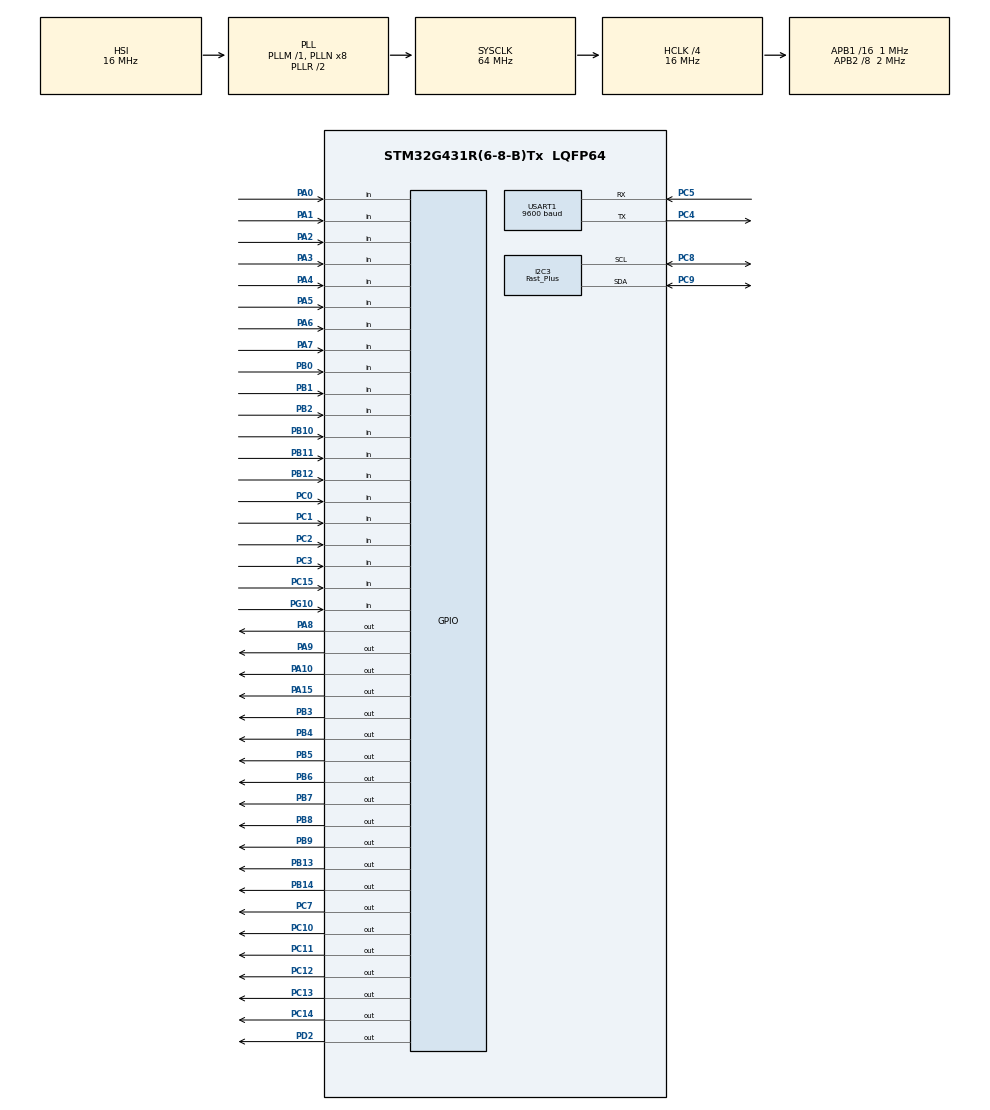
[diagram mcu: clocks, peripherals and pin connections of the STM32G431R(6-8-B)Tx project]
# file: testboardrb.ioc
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Dma.I2C3_RX.1.Direction=DMA_PERIPH_TO_MEMORY
Dma.I2C3_RX.1.EventEnable=ENABLE
Dma.I2C3_RX.1.Instance=DMA1_Channel2
Dma.I2C3_RX.1.MemDataAlignment=DMA_MDATAALIGN_BYTE
Dma.I2C3_RX.1.MemInc=DMA_MINC_ENABLE
Dma.I2C3_RX.1.Mode=DMA_NORMAL
Dma.I2C3_RX.1.PeriphDataAlignment=DMA_PDATAALIGN_BYTE
Dma.I2C3_RX.1.PeriphInc=DMA_PINC_DISABLE
Dma.I2C3_RX.1.Polarity=HAL_DMAMUX_REQ_GEN_RISING
Dma.I2C3_RX.1.Priority=DMA_PRIORITY_VERY_HIGH
Dma.I2C3_RX.1.RequestNumber=1
Dma.I2C3_RX.1.SignalID=NONE
Dma.I2C3_RX.1.SyncEnable=ENABLE
Dma.I2C3_RX.1.SyncPolarity=HAL_DMAMUX_SYNC_RISING
Dma.I2C3_RX.1.SyncRequestNumber=1
Dma.I2C3_RX.1.SyncSignalID=NONE
Dma.I2C3_TX.0.Direction=DMA_MEMORY_TO_PERIPH
Dma.I2C3_TX.0.EventEnable=DISABLE
Dma.I2C3_TX.0.Instance=DMA1_Channel1
Dma.I2C3_TX.0.MemDataAlignment=DMA_MDATAALIGN_BYTE
Dma.I2C3_TX.0.MemInc=DMA_MINC_ENABLE
Dma.I2C3_TX.0.Mode=DMA_NORMAL
Dma.I2C3_TX.0.PeriphDataAlignment=DMA_PDATAALIGN_BYTE
Dma.I2C3_TX.0.PeriphInc=DMA_PINC_DISABLE
Dma.I2C3_TX.0.Polarity=HAL_DMAMUX_REQ_GEN_RISING
Dma.I2C3_TX.0.Priority=DMA_PRIORITY_VERY_HIGH
Dma.I2C3_TX.0.RequestNumber=1
Dma.I2C3_TX.0.SignalID=NONE
Dma.I2C3_TX.0.SyncEnable=DISABLE
Dma.I2C3_TX.0.SyncPolarity=HAL_DMAMUX_SYNC_NO_EVENT
Dma.I2C3_TX.0.SyncRequestNumber=1
Dma.I2C3_TX.0.SyncSignalID=NONE
Dma.Request0=I2C3_TX
Dma.Request1=I2C3_RX
Dma.Request2=USART1_RX
Dma.Request3=USART1_TX
Dma.USART1_RX.2.Direction=DMA_PERIPH_TO_MEMORY
Dma.USART1_RX.2.EventEnable=ENABLE
Dma.USART1_RX.2.Instance=DMA2_Channel5
Dma.USART1_RX.2.MemDataAlignment=DMA_MDATAALIGN_BYTE
Dma.USART1_RX.2.MemInc=DMA_MINC_ENABLE
Dma.USART1_RX.2.Mode=DMA_NORMAL
Dma.USART1_RX.2.PeriphDataAlignment=DMA_PDATAALIGN_BYTE
Dma.USART1_RX.2.PeriphInc=DMA_PINC_DISABLE
Dma.USART1_RX.2.Polarity=HAL_DMAMUX_REQ_GEN_RISING
Dma.USART1_RX.2.Priority=DMA_PRIORITY_VERY_HIGH
Dma.USART1_RX.2.RequestNumber=1
Dma.USART1_RX.2.SignalID=NONE
Dma.USART1_RX.2.SyncEnable=ENABLE
Dma.USART1_RX.2.SyncPolarity=HAL_DMAMUX_SYNC_RISING
Dma.USART1_RX.2.SyncRequestNumber=1
Dma.USART1_RX.2.SyncSignalID=NONE
Dma.USART1_TX.3.Direction=DMA_MEMORY_TO_PERIPH
Dma.USART1_TX.3.EventEnable=ENABLE
Dma.USART1_TX.3.Instance=DMA2_Channel6
Dma.USART1_TX.3.MemDataAlignment=DMA_MDATAALIGN_BYTE
Dma.USART1_TX.3.MemInc=DMA_MINC_ENABLE
Dma.USART1_TX.3.Mode=DMA_NORMAL
Dma.USART1_TX.3.PeriphDataAlignment=DMA_PDATAALIGN_BYTE
Dma.USART1_TX.3.PeriphInc=DMA_PINC_DISABLE
Dma.USART1_TX.3.Polarity=HAL_DMAMUX_REQ_GEN_RISING
Dma.USART1_TX.3.Priority=DMA_PRIORITY_LOW
Dma.USART1_TX.3.RequestNumber=1
Dma.USART1_TX.3.SignalID=NONE
Dma.USART1_TX.3.SyncEnable=ENABLE
Dma.USART1_TX.3.SyncPolarity=HAL_DMAMUX_SYNC_RISING
Dma.USART1_TX.3.SyncRequestNumber=1
Dma.USART1_TX.3.SyncSignalID=NONE
I2C3.I2C_Speed_Mode=I2C_Fast_Plus
I2C3.Timing=0x00000000
Mcu.Family=STM32G4
Mcu.Name=STM32G431R(6-8-B)Tx
Mcu.Package=LQFP64
NVIC.DMA1_Channel1_IRQn=true\:0\:0\:false\:false\:true\:false\:true\:true
NVIC.DMA1_Channel2_IRQn=true\:0\:0\:false\:false\:true\:false\:true\:true
NVIC.DMA2_Channel5_IRQn=true\:0\:0\:false\:false\:true\:false\:true\:true
NVIC.DMA2_Channel6_IRQn=true\:0\:0\:false\:false\:true\:false\:true\:true
NVIC.DMAMUX_OVR_IRQn=true\:0\:0\:false\:false\:true\:false\:true\:true
NVIC.I2C3_ER_IRQn=true\:0\:0\:false\:false\:true\:true\:true\:true
NVIC.I2C3_EV_IRQn=true\:0\:0\:false\:false\:true\:true\:true\:true
NVIC.PriorityGroup=NVIC_PRIORITYGROUP_4
NVIC.USART1_IRQn=true\:0\:0\:false\:false\:true\:true\:true\:true
PA0.Signal=GPIO_Input
PA1.Signal=GPIO_Input
PA10.Signal=GPIO_Output
PA13.Mode=Serial_Wire
PA13.Signal=SYS_JTMS-SWDIO
PA14.Mode=Serial_Wire
PA14.Signal=SYS_JTCK-SWCLK
PA15.Signal=GPIO_Output
PA2.Signal=GPIO_Input
PA3.Signal=GPIO_Input
PA4.Signal=GPIO_Input
PA5.Signal=GPIO_Input
PA6.Signal=GPIO_Input
PA7.Signal=GPIO_Input
PA8.Signal=GPIO_Output
PA9.Signal=GPIO_Output
PB0.Signal=GPIO_Input
PB1.Signal=GPIO_Input
PB10.Signal=GPIO_Input
PB11.Signal=GPIO_Input
PB12.Signal=GPIO_Input
PB13.Signal=GPIO_Output
PB14.Signal=GPIO_Output
PB2.Signal=GPIO_Input
PB3.Signal=GPIO_Output
PB4.Signal=GPIO_Output
PB5.Signal=GPIO_Output
PB6.Signal=GPIO_Output
PB7.Signal=GPIO_Output
PB8-BOOT0.Signal=GPIO_Output
PB9.Signal=GPIO_Output
PC0.GPIO_PuPd=GPIO_NOPULL
PC0.Signal=GPIO_Input
PC1.GPIO_PuPd=GPIO_NOPULL
PC1.Signal=GPIO_Input
PC10.Signal=GPIO_Output
PC11.Signal=GPIO_Output
PC12.Signal=GPIO_Output
PC13.Signal=GPIO_Output
PC14-OSC32_IN.Signal=GPIO_Output
PC15-OSC32_OUT.Signal=GPIO_Input
PC2.Signal=GPIO_Input
PC3.Signal=GPIO_Input
PC4.Mode=Asynchronous
PC4.Signal=USART1_TX
PC5.Mode=Asynchronous
PC5.Signal=USART1_RX
PC7.Signal=GPIO_Output
PC8.GPIO_Mode=GPIO_MODE_AF_OD
PC8.GPIO_Pu=GPIO_PULLUP
PC8.GPIO_Speed=GPIO_SPEED_FREQ_HIGH
PC8.Mode=I2C
PC8.Signal=I2C3_SCL
PC9.GPIO_Mode=GPIO_MODE_AF_OD
PC9.GPIO_Pu=GPIO_PULLUP
PC9.GPIO_Speed=GPIO_SPEED_FREQ_HIGH
PC9.Mode=I2C
PC9.Signal=I2C3_SDA
PD2.Signal=GPIO_Output
PF0-OSC_IN.Mode=HSE-External-Oscillator
PF0-OSC_IN.Signal=RCC_OSC_IN
PF1-OSC_OUT.Mode=HSE-External-Oscillator
PF1-OSC_OUT.Signal=RCC_OSC_OUT
PG10-NRST.Signal=GPIO_Input
ProjectManager.HeapSize=0x200
ProjectManager.StackSize=0x400
ProjectManager.TargetToolchain=STM32CubeIDE
RCC.ADC12Freq_Value=64000000
RCC.AHBCLKDivider=RCC_SYSCLK_DIV4
RCC.AHBFreq_Value=16000000
RCC.APB1CLKDivider=RCC_HCLK_DIV16
RCC.APB1Freq_Value=1000000
RCC.APB1TimFreq_Value=2000000
RCC.APB2CLKDivider=RCC_HCLK_DIV8
RCC.APB2Freq_Value=2000000
RCC.APB2TimFreq_Value=4000000
RCC.CortexFreq_Value=16000000
RCC.EXTERNAL_CLOCK_VALUE=12288000
RCC.HCLKFreq_Value=16000000
RCC.HSE_VALUE=8000000
RCC.HSI48_VALUE=48000000
RCC.HSI_VALUE=16000000
RCC.LSE_VALUE=32768
RCC.SYSCLKFreq_VALUE=64000000
RCC.SYSCLKSource=RCC_SYSCLKSOURCE_PLLCLK
RCC.USBFreq_Value=64000000
RCC.VCOOutputFreq_Value=128000000
USART1.BaudRate=9600
USART1.VirtualMode-Asynchronous=VM_ASYNC
VP_CRC_VS_CRC.Mode=CRC_Activate
VP_SYS_VS_DBSignals.Mode=DisableDeadBatterySignals
board=custom

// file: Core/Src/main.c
/* USER CODE BEGIN Header */
/**
  ******************************************************************************
  * @file           : main.c
  * @brief          : Main program body
  ******************************************************************************
  * @attention
  *
  * Copyright (c) 2025 STMicroelectronics.
  * All rights reserved.
  *
  * This software is licensed under terms that can be found in the LICENSE file
  * in the root directory of this software component.
  * If no LICENSE file comes with this software, it is provided AS-IS.
  *
  ******************************************************************************
  */
/* USER CODE END Header */
#include "main.h"

/* USER CODE BEGIN Includes */
#include "valve.h"
#include "nslp_dma.h"
#include "i2c_dma_sens.h"
//remove in stm32g4xx_it.c in usart1_irqHandler and after uartinit
/* USER CODE END Includes */

/* USER CODE BEGIN PD */
#define DELAY 400 //Per baud rate 9600: 400ms 19200:200ms
#define CAL_TIMEOUT 60000
/* USER CODE END PD */

/* USER CODE BEGIN PM */
uint8_t sysarm = 0;
ValveController bal1 = {
    .pinO = GPIO_PIN_13,
    .busO = (int)GPIOC,
    .pinC = GPIO_PIN_14,
    .busC = (int)GPIOC,
	.funPin = GPIO_PIN_12,
	.funBus = (int)GPIOB,
    .timeO = 6500,  // Full open time in ms
    .timeC = 6500,  // Full close time in ms
    .current_openness = 0,
    .target_openness = 0,
    .state = VALVE_IDLE,
    .start_time = 0,
    .move_duration = 0,
	.valvecal = 2.83,
	.calibrate = 0
};

struct Packet *rx;

ValveController bal2 = {
    .pinO = GPIO_PIN_6,
    .busO = (int)GPIOB,
    .pinC = GPIO_PIN_7,
    .busC = (int)GPIOB,
	.funPin = GPIO_PIN_11,
	.funBus = (int)GPIOB,
    .timeO = 6500,  // Full open time in ms
    .timeC = 6500,  // Full close time in ms
    .current_openness = 0,
    .target_openness = 0,
    .state = VALVE_IDLE,
    .start_time = 0,
    .move_duration = 0,
	.valvecal = 2.83,
	.calibrate = 0
};

struct Packet Command;
uint8_t byPayload1 = 0;

Solenoid air1 	=	{GPIO_PIN_15, GPIOA, GPIO_PIN_1 , GPIOC, GPIO_PIN_0, GPIOC, 0, 0};
Solenoid air2 	=	{GPIO_PIN_10, GPIOC, GPIO_PIN_3 , GPIOC, GPIO_PIN_2, GPIOC, 0, 0};
Solenoid liq1 	=	{GPIO_PIN_11, GPIOC, GPIO_PIN_1 , GPIOA, GPIO_PIN_0, GPIOA, 0, 0};
Solenoid liq2 	=	{GPIO_PIN_12, GPIOC, GPIO_PIN_3 , GPIOA, GPIO_PIN_2, GPIOA, 0, 0};
Solenoid ven1 	=	{GPIO_PIN_2 , GPIOD, GPIO_PIN_5 , GPIOA, GPIO_PIN_4, GPIOA, 0, 0};
Solenoid ven2 	=	{GPIO_PIN_3 , GPIOB, GPIO_PIN_7 , GPIOA, GPIO_PIN_6, GPIOA, 0, 0};
Solenoid NoCo 	=	{GPIO_PIN_4 , GPIOB, GPIO_PIN_1 , GPIOB, GPIO_PIN_0, GPIOB, 0, 0};
Ignitor ig1 	=	{GPIO_PIN_5 , GPIOB, GPIO_PIN_10, GPIOB, GPIO_PIN_2, GPIOB, 0, 0};

/* USER CODE END PM */

CRC_HandleTypeDef hcrc;

I2C_HandleTypeDef hi2c3;
DMA_HandleTypeDef hdma_i2c3_tx;
DMA_HandleTypeDef hdma_i2c3_rx;

UART_HandleTypeDef huart1;
DMA_HandleTypeDef hdma_usart1_rx;
DMA_HandleTypeDef hdma_usart1_tx;

void SystemClock_Config(void);
static void MX_GPIO_Init(void);
static void MX_DMA_Init(void);
static void MX_I2C3_Init(void);
static void MX_USART1_UART_Init(void);
static void MX_CRC_Init(void);

/* USER CODE BEGIN 0 */
uint8_t ballin;
uint8_t autoRun;
uint8_t lastTime = 0;
uint8_t lastTime2 =0;
uint8_t first = 0;
uint8_t first2 =0;

void on_packet_received(struct Packet *p) {

	switch(p->type){
	case('c'):
		switch(p->payload[0]){
		case(SOLS_SET): //SOLS_SET
			byPayload1 = p->payload[1];
			break;
		case(BAL1_SET): //BAL1_SET
			valve_set_openness(&bal1, p->payload[1]);
			break;
		case(BAL1_CAL): //BAL1_CAL
			if (HAL_GetTick() - lastTime > CAL_TIMEOUT || !first){
				bal1.calibrate = 1;
				first = 1;
				lastTime  = HAL_GetTick();
			}
			break;
		case(BAL2_SET):	//BAL2_SET
			valve_set_openness(&bal2, p->payload[1]);
			break;
		case(BAL2_CAL): //BAL2_CAL
			if (HAL_GetTick() - lastTime2 > CAL_TIMEOUT || !first2){
				bal2.calibrate = 1;
				first2 = 1;
				lastTime2  = HAL_GetTick();
			}
			break;
		case(ISYS_RST):	//ISYS_RST
			NVIC_SystemReset();
			break;
		case(ISYS_ARM):	//ISYSARM
			sysarm = 1;
			break;
		}
		break;
	case('a'):
		switch(p->payload[0]){
		case(AUTO_INI):
			autoRun = 1;
			break;
		case(AUTO_STR):
			autoRun = 2;
			break;
		case(AUTO_EMS):
			autoRun = 0;
			byPayload1 = 0;
			break;
		}

	break;
	}

	Command.type = p->type;
	Command.size = p->size;
	Command.payload = p->payload[1];
	HAL_GPIO_TogglePin(GPIOB, GPIO_PIN_13);
}

/* USER CODE END 0 */

int main(void)
{

  /* MCU Configuration--------------------------------------------------------*/

  /* Reset of all peripherals, Initializes the Flash interface and the Systick. */
  HAL_Init();

  /* USER CODE BEGIN Init */
  	uint32_t opento1 = 0;
  	uint32_t opento2 = 0;
  	uint8_t debug = 0;
  	uint8_t flag = 0;
  	uint32_t timepre = 0;
  	uint32_t timeref1 = 0;
  	uint32_t timec = 0;
  	uint32_t psend = 0;
  	uint32_t tsend = 0;

  /* USER CODE END Init */

  /* Configure the system clock */
  SystemClock_Config();

  /* Initialize all configured peripherals */
  MX_GPIO_Init();
  MX_DMA_Init();
  MX_I2C3_Init();
  MX_USART1_UART_Init();
  MX_CRC_Init();
  /* USER CODE BEGIN 2 */
  muxInit();
  startSensorReadSequence();
  nslp_init(&huart1, &hcrc);
  nslp_set_rx_callback(on_packet_received);

  /* USER CODE END 2 */

  /* Infinite loop */
  /* USER CODE BEGIN WHILE */
  while (1)
  {
	  //autoRun code
	  if (autoRun){
		  fautoRun();
	  }

	  CheckAndResumeI2C();

	  //set solenoids when it comes to communication and in regard to payload
	  (byPayload1 & (1 << 0)) ? HAL_GPIO_WritePin(air1.onbus, air1.onpin, 1) : HAL_GPIO_WritePin(air1.onbus, air1.onpin, 0);
	  (byPayload1 & (1 << 1)) ? HAL_GPIO_WritePin(air2.onbus, air2.onpin, 1) : HAL_GPIO_WritePin(air2.onbus, air2.onpin, 0);
	  (byPayload1 & (1 << 2)) ? HAL_GPIO_WritePin(liq1.onbus, liq1.onpin, 1) : HAL_GPIO_WritePin(liq1.onbus, liq1.onpin, 0);
	  (byPayload1 & (1 << 3)) ? HAL_GPIO_WritePin(liq2.onbus, liq2.onpin, 1) : HAL_GPIO_WritePin(liq2.onbus, liq2.onpin, 0);
	  (byPayload1 & (1 << 4)) ? HAL_GPIO_WritePin(ven1.onbus, ven1.onpin, 1) : HAL_GPIO_WritePin(ven1.onbus, ven1.onpin, 0);
	  (byPayload1 & (1 << 5)) ? HAL_GPIO_WritePin(ven2.onbus, ven2.onpin, 1) : HAL_GPIO_WritePin(ven2.onbus, ven2.onpin, 0);
	  (byPayload1 & (1 << 6)) ? HAL_GPIO_WritePin(NoCo.onbus, NoCo.onpin, 1) : HAL_GPIO_WritePin(NoCo.onbus, NoCo.onpin, 0);
	  (byPayload1 & (1 << 7)) ? HAL_GPIO_WritePin(ig1.onbus,  ig1.onpin , 1) : HAL_GPIO_WritePin(ig1.onbus,  ig1.onpin , 0);

	  if(bal1.calibrate == 1){
		  valve_calibrate(&bal1);
		  bal1.calibrate = 0;
	  }
	  if(bal2.calibrate == 1){
		  valve_calibrate(&bal2);
		  bal2.calibrate = 0;
	  }

//Is line really on
	uint8_t isOn = 0;
	air1.isOn = HAL_GPIO_ReadPin(air1.onbus, air1.onpin);
	air2.isOn = HAL_GPIO_ReadPin(air2.onbus, air2.onpin);
	liq1.isOn = HAL_GPIO_ReadPin(liq1.onbus, liq1.onpin);
	liq2.isOn = HAL_GPIO_ReadPin(liq2.onbus, liq2.onpin);
	ven1.isOn = HAL_GPIO_ReadPin(ven1.onbus, ven1.onpin);
	ven2.isOn = HAL_GPIO_ReadPin(ven2.onbus, ven2.onpin);
	NoCo.isOn = HAL_GPIO_ReadPin(NoCo.onbus, NoCo.onpin);
	ig1.isOn  = HAL_GPIO_ReadPin(ig1.onbus, ig1.onpin);
	(air1.isOn) ? (isOn |= (1 << 0)) : (isOn &= ~(1 << 0));
	(air2.isOn) ? (isOn |= (1 << 1)) : (isOn &= ~(1 << 1));
	(liq1.isOn) ? (isOn |= (1 << 2)) : (isOn &= ~(1 << 2));
	(liq2.isOn) ? (isOn |= (1 << 3)) : (isOn &= ~(1 << 3));
	(ven1.isOn) ? (isOn |= (1 << 4)) : (isOn &= ~(1 << 4));
	(ven2.isOn) ? (isOn |= (1 << 5)) : (isOn &= ~(1 << 5));
	(NoCo.isOn) ? (isOn |= (1 << 6)) : (isOn &= ~(1 << 6));
	(ig1.isOn)  ? (isOn |= (1 << 7)) : (isOn &= ~(1 << 7));

	//Check if relay is connected
	uint8_t isCon = 0;
	air1.isCon = !HAL_GPIO_ReadPin(air1.conBus, air1.conPin);
	air2.isCon = !HAL_GPIO_ReadPin(air2.conBus, air2.conPin);
	liq1.isCon = !HAL_GPIO_ReadPin(liq1.conBus, liq1.conPin);
	liq2.isCon = !HAL_GPIO_ReadPin(liq2.conBus, liq2.conPin);
	ven1.isCon = !HAL_GPIO_ReadPin(ven1.conBus, ven1.conPin);
	ven2.isCon = !HAL_GPIO_ReadPin(ven2.conBus, ven2.conPin);
	NoCo.isCon = !HAL_GPIO_ReadPin(NoCo.conBus, NoCo.conPin);
	ig1.isCon  = !HAL_GPIO_ReadPin(ig1.conBus, ig1.conPin);
	(air1.isCon) ? (isCon |= (1 << 0)) : (isCon &= ~(1 << 0));
	(air2.isCon) ? (isCon |= (1 << 1)) : (isCon &= ~(1 << 1));
	(liq1.isCon) ? (isCon |= (1 << 2)) : (isCon &= ~(1 << 2));
	(liq2.isCon) ? (isCon |= (1 << 3)) : (isCon &= ~(1 << 3));
	(ven1.isCon) ? (isCon |= (1 << 4)) : (isCon &= ~(1 << 4));
	(ven2.isCon) ? (isCon |= (1 << 5)) : (isCon &= ~(1 << 5));
	(NoCo.isCon) ? (isCon |= (1 << 6)) : (isCon &= ~(1 << 6));
	(ig1.isCon)  ? (isCon |= (1 << 7)) : (isCon &= ~(1 << 7));

	//Check if relay is open
	uint8_t isFun = 0;
	air1.isFun = HAL_GPIO_ReadPin(air1.funBus, air1.funPin);
	air2.isFun = HAL_GPIO_ReadPin(air2.funBus, air2.funPin);
	liq1.isFun = HAL_GPIO_ReadPin(liq1.funBus, liq1.funPin);
	liq2.isFun = HAL_GPIO_ReadPin(liq2.funBus, liq2.funPin);
	ven1.isFun = HAL_GPIO_ReadPin(ven1.funBus, ven1.funPin);
	ven2.isFun = HAL_GPIO_ReadPin(ven2.funBus, ven2.funPin);
	NoCo.isFun = HAL_GPIO_ReadPin(NoCo.funBus, NoCo.funPin);
	ig1.isFun  = HAL_GPIO_ReadPin(ig1.funBus, ig1.funPin);
	(air1.isFun) ? (isFun |= (1 << 0)) : (isFun &= ~(1 << 0));
	(air2.isFun) ? (isFun |= (1 << 1)) : (isFun &= ~(1 << 1));
	(liq1.isFun) ? (isFun |= (1 << 2)) : (isFun &= ~(1 << 2));
	(liq2.isFun) ? (isFun |= (1 << 3)) : (isFun &= ~(1 << 3));
	(ven1.isFun) ? (isFun |= (1 << 4)) : (isFun &= ~(1 << 4));
	(ven2.isFun) ? (isFun |= (1 << 5)) : (isFun &= ~(1 << 5));
	(NoCo.isFun) ? (isFun |= (1 << 6)) : (isFun &= ~(1 << 6));
	(ig1.isFun)  ? (isFun |= (1 << 7)) : (isFun &= ~(1 << 7));

	//Updates ball valve position
	valve_update(&bal1);
	valve_update(&bal2);

  struct Packet Pressure = {
		.type = 'p',
		.size = sizeof(pressureArray),
		.payload = pressureArray
	};

  struct Packet Temperature = {
		.type = 't',
		.size = sizeof(temperatureArray),
		.payload = temperatureArray
	};
/*
  struct Packet Bal1State = {
		.type = 0xA3,
		.size = sizeof(bal1.state),
		.payload = bal1.state
	};
*/
  struct Packet Bal1CurrentPos = {
		.type = 0xA4,
		.size = sizeof(bal1.current_openness),
		.payload = &bal1.current_openness
	};

/*
  struct Packet Bal2State = {
		.type = 0xA5,
		.size = sizeof(bal2.state),
		.payload = bal2.state
	};
*/
  struct Packet Bal2CurrentPos = {
		.type = 0xA6,
		.size = sizeof(bal2.current_openness),
		.payload = &bal2.current_openness
	};

  struct Packet SolIsCon = {
		.type = 0xA7,
		.size = sizeof(isCon),
		.payload = &isCon
	};

  struct Packet SolIsOn = {
		.type = 0xA8,
		.size = sizeof(isOn),
		.payload = &isOn
	};
  uint8_t arisFun[2] = {0x69, isFun};
  struct Packet SolIsFun = {
		.type = 'c',
		.size = 2,
		.payload = arisFun
	};

  timec = HAL_GetTick();
  if (timec - timepre > DELAY){
	  	nslp_send_packet(&Temperature);
	    nslp_send_packet(&Pressure);
	    //nslp_send_packet(&Bal1State);
	    nslp_send_packet(&Bal1CurrentPos);
	    //nslp_send_packet(&Bal2State);
	    nslp_send_packet(&Bal2CurrentPos);
	    nslp_send_packet(&SolIsCon);
	    //nslp_send_packet(&SolIsOn);
	    nslp_send_packet(&SolIsFun);
	    timepre = timec;
  	  }

    /* USER CODE END WHILE */

  }
}

void SystemClock_Config(void)
{
  RCC_OscInitTypeDef RCC_OscInitStruct = {0};
  RCC_ClkInitTypeDef RCC_ClkInitStruct = {0};

  /** Configure the main internal regulator output voltage
  */
  HAL_PWREx_ControlVoltageScaling(PWR_REGULATOR_VOLTAGE_SCALE1);

  /** Initializes the RCC Oscillators according to the specified parameters
  * in the RCC_OscInitTypeDef structure.
  */
  RCC_OscInitStruct.OscillatorType = RCC_OSCILLATORTYPE_HSI;
  RCC_OscInitStruct.HSIState = RCC_HSI_ON;
  RCC_OscInitStruct.HSICalibrationValue = RCC_HSICALIBRATION_DEFAULT;
  RCC_OscInitStruct.PLL.PLLState = RCC_PLL_ON;
  RCC_OscInitStruct.PLL.PLLSource = RCC_PLLSOURCE_HSI;
  RCC_OscInitStruct.PLL.PLLM = RCC_PLLM_DIV1;
  RCC_OscInitStruct.PLL.PLLN = 8;
  RCC_OscInitStruct.PLL.PLLP = RCC_PLLP_DIV2;
  RCC_OscInitStruct.PLL.PLLQ = RCC_PLLQ_DIV2;
  RCC_OscInitStruct.PLL.PLLR = RCC_PLLR_DIV2;
  if (HAL_RCC_OscConfig(&RCC_OscInitStruct) != HAL_OK)
  {
    Error_Handler();
  }

  /** Initializes the CPU, AHB and APB buses clocks
  */
  RCC_ClkInitStruct.ClockType = RCC_CLOCKTYPE_HCLK|RCC_CLOCKTYPE_SYSCLK
                              |RCC_CLOCKTYPE_PCLK1|RCC_CLOCKTYPE_PCLK2;
  RCC_ClkInitStruct.SYSCLKSource = RCC_SYSCLKSOURCE_PLLCLK;
  RCC_ClkInitStruct.AHBCLKDivider = RCC_SYSCLK_DIV4;
  RCC_ClkInitStruct.APB1CLKDivider = RCC_HCLK_DIV16;
  RCC_ClkInitStruct.APB2CLKDivider = RCC_HCLK_DIV8;

  if (HAL_RCC_ClockConfig(&RCC_ClkInitStruct, FLASH_LATENCY_0) != HAL_OK)
  {
    Error_Handler();
  }
}

static void MX_CRC_Init(void)
{

  hcrc.Instance = CRC;
  hcrc.Init.DefaultPolynomialUse = DEFAULT_POLYNOMIAL_ENABLE;
  hcrc.Init.DefaultInitValueUse = DEFAULT_INIT_VALUE_ENABLE;
  hcrc.Init.InputDataInversionMode = CRC_INPUTDATA_INVERSION_NONE;
  hcrc.Init.OutputDataInversionMode = CRC_OUTPUTDATA_INVERSION_DISABLE;
  hcrc.InputDataFormat = CRC_INPUTDATA_FORMAT_BYTES;
  if (HAL_CRC_Init(&hcrc) != HAL_OK)
  {
    Error_Handler();
  }

}

static void MX_I2C3_Init(void)
{

  hi2c3.Instance = I2C3;
  hi2c3.Init.Timing = 0x00000000;
  hi2c3.Init.OwnAddress1 = 0;
  hi2c3.Init.AddressingMode = I2C_ADDRESSINGMODE_7BIT;
  hi2c3.Init.DualAddressMode = I2C_DUALADDRESS_DISABLE;
  hi2c3.Init.OwnAddress2 = 0;
  hi2c3.Init.OwnAddress2Masks = I2C_OA2_NOMASK;
  hi2c3.Init.GeneralCallMode = I2C_GENERALCALL_DISABLE;
  hi2c3.Init.NoStretchMode = I2C_NOSTRETCH_DISABLE;
  if (HAL_I2C_Init(&hi2c3) != HAL_OK)
  {
    Error_Handler();
  }

  /** Configure Analogue filter
  */
  if (HAL_I2CEx_ConfigAnalogFilter(&hi2c3, I2C_ANALOGFILTER_ENABLE) != HAL_OK)
  {
    Error_Handler();
  }

  /** Configure Digital filter
  */
  if (HAL_I2CEx_ConfigDigitalFilter(&hi2c3, 0) != HAL_OK)
  {
    Error_Handler();
  }

  /** I2C Fast mode Plus enable
  */
  HAL_I2CEx_EnableFastModePlus(I2C_FASTMODEPLUS_I2C3);
  /* USER CODE BEGIN I2C3_Init 2 */
  //__HAL_RCC_I2C3_CONFIG(RCC_I2C3CLKSOURCE_HSI);
  //__HAL_RCC_I2C3_CLK_ENABLE();
  /* USER CODE END I2C3_Init 2 */

}

static void MX_USART1_UART_Init(void)
{

  huart1.Instance = USART1;
  huart1.Init.BaudRate = 9600;
  huart1.Init.WordLength = UART_WORDLENGTH_8B;
  huart1.Init.StopBits = UART_STOPBITS_1;
  huart1.Init.Parity = UART_PARITY_NONE;
  huart1.Init.Mode = UART_MODE_TX_RX;
  huart1.Init.HwFlowCtl = UART_HWCONTROL_NONE;
  huart1.Init.OverSampling = UART_OVERSAMPLING_16;
  huart1.Init.OneBitSampling = UART_ONE_BIT_SAMPLE_DISABLE;
  huart1.Init.ClockPrescaler = UART_PRESCALER_DIV1;
  huart1.AdvancedInit.AdvFeatureInit = UART_ADVFEATURE_NO_INIT;
  if (HAL_UART_Init(&huart1) != HAL_OK)
  {
    Error_Handler();
  }
  if (HAL_UARTEx_SetTxFifoThreshold(&huart1, UART_TXFIFO_THRESHOLD_1_8) != HAL_OK)
  {
    Error_Handler();
  }
  if (HAL_UARTEx_SetRxFifoThreshold(&huart1, UART_RXFIFO_THRESHOLD_1_8) != HAL_OK)
  {
    Error_Handler();
  }
  if (HAL_UARTEx_DisableFifoMode(&huart1) != HAL_OK)
  {
    Error_Handler();
  }

}

static void MX_DMA_Init(void)
{

  /* DMA controller clock enable */
  __HAL_RCC_DMAMUX1_CLK_ENABLE();
  __HAL_RCC_DMA1_CLK_ENABLE();
  __HAL_RCC_DMA2_CLK_ENABLE();

  /* DMA interrupt init */
  /* DMA1_Channel1_IRQn interrupt configuration */
  HAL_NVIC_SetPriority(DMA1_Channel1_IRQn, 0, 0);
  HAL_NVIC_EnableIRQ(DMA1_Channel1_IRQn);
  /* DMA1_Channel2_IRQn interrupt configuration */
  HAL_NVIC_SetPriority(DMA1_Channel2_IRQn, 0, 0);
  HAL_NVIC_EnableIRQ(DMA1_Channel2_IRQn);
  /* DMA2_Channel5_IRQn interrupt configuration */
  HAL_NVIC_SetPriority(DMA2_Channel5_IRQn, 0, 0);
  HAL_NVIC_EnableIRQ(DMA2_Channel5_IRQn);
  /* DMAMUX_OVR_IRQn interrupt configuration */
  HAL_NVIC_SetPriority(DMAMUX_OVR_IRQn, 0, 0);
  HAL_NVIC_EnableIRQ(DMAMUX_OVR_IRQn);
  /* DMA2_Channel6_IRQn interrupt configuration */
  HAL_NVIC_SetPriority(DMA2_Channel6_IRQn, 0, 0);
  HAL_NVIC_EnableIRQ(DMA2_Channel6_IRQn);

}

static void MX_GPIO_Init(void)
{
  GPIO_InitTypeDef GPIO_InitStruct = {0};

  /* GPIO Ports Clock Enable */
  __HAL_RCC_GPIOC_CLK_ENABLE();
  __HAL_RCC_GPIOF_CLK_ENABLE();
  __HAL_RCC_GPIOG_CLK_ENABLE();
  __HAL_RCC_GPIOA_CLK_ENABLE();
  __HAL_RCC_GPIOB_CLK_ENABLE();
  __HAL_RCC_GPIOD_CLK_ENABLE();

  /*Configure GPIO pin Output Level */
  HAL_GPIO_WritePin(GPIOC, GPIO_PIN_13|GPIO_PIN_14|GPIO_PIN_7|GPIO_PIN_10
                          |GPIO_PIN_11|GPIO_PIN_12, GPIO_PIN_RESET);

  /*Configure GPIO pin Output Level */
  HAL_GPIO_WritePin(GPIOB, GPIO_PIN_13|GPIO_PIN_14|GPIO_PIN_3|GPIO_PIN_4
                          |GPIO_PIN_5|GPIO_PIN_6|GPIO_PIN_7|GPIO_PIN_8
                          |GPIO_PIN_9, GPIO_PIN_RESET);

  /*Configure GPIO pin Output Level */
  HAL_GPIO_WritePin(GPIOA, GPIO_PIN_8|GPIO_PIN_9|GPIO_PIN_10|GPIO_PIN_15, GPIO_PIN_RESET);

  /*Configure GPIO pin Output Level */
  HAL_GPIO_WritePin(GPIOD, GPIO_PIN_2, GPIO_PIN_RESET);

  /*Configure GPIO pins : PC13 PC14 PC7 PC10
                           PC11 PC12 */
  GPIO_InitStruct.Pin = GPIO_PIN_13|GPIO_PIN_14|GPIO_PIN_7|GPIO_PIN_10
                          |GPIO_PIN_11|GPIO_PIN_12;
  GPIO_InitStruct.Mode = GPIO_MODE_OUTPUT_PP;
  GPIO_InitStruct.Pull = GPIO_NOPULL;
  GPIO_InitStruct.Speed = GPIO_SPEED_FREQ_LOW;
  HAL_GPIO_Init(GPIOC, &GPIO_InitStruct);

  /*Configure GPIO pins : PC15 PC0 PC1 PC2
                           PC3 */
  GPIO_InitStruct.Pin = GPIO_PIN_15|GPIO_PIN_0|GPIO_PIN_1|GPIO_PIN_2
                          |GPIO_PIN_3;
  GPIO_InitStruct.Mode = GPIO_MODE_INPUT;
  GPIO_InitStruct.Pull = GPIO_NOPULL;
  HAL_GPIO_Init(GPIOC, &GPIO_InitStruct);

  /*Configure GPIO pin : PG10 */
  GPIO_InitStruct.Pin = GPIO_PIN_10;
  GPIO_InitStruct.Mode = GPIO_MODE_INPUT;
  GPIO_InitStruct.Pull = GPIO_NOPULL;
  HAL_GPIO_Init(GPIOG, &GPIO_InitStruct);

  /*Configure GPIO pins : PA0 PA1 PA2 PA3
                           PA4 PA5 PA6 PA7 */
  GPIO_InitStruct.Pin = GPIO_PIN_0|GPIO_PIN_1|GPIO_PIN_2|GPIO_PIN_3
                          |GPIO_PIN_4|GPIO_PIN_5|GPIO_PIN_6|GPIO_PIN_7;
  GPIO_InitStruct.Mode = GPIO_MODE_INPUT;
  GPIO_InitStruct.Pull = GPIO_NOPULL;
  HAL_GPIO_Init(GPIOA, &GPIO_InitStruct);

  /*Configure GPIO pins : PB0 PB1 PB2 PB10
                           PB11 PB12 */
  GPIO_InitStruct.Pin = GPIO_PIN_0|GPIO_PIN_1|GPIO_PIN_2|GPIO_PIN_10
                          |GPIO_PIN_11|GPIO_PIN_12;
  GPIO_InitStruct.Mode = GPIO_MODE_INPUT;
  GPIO_InitStruct.Pull = GPIO_NOPULL;
  HAL_GPIO_Init(GPIOB, &GPIO_InitStruct);

  /*Configure GPIO pins : PB13 PB14 PB3 PB4
                           PB5 PB6 PB7 PB8
                           PB9 */
  GPIO_InitStruct.Pin = GPIO_PIN_13|GPIO_PIN_14|GPIO_PIN_3|GPIO_PIN_4
                          |GPIO_PIN_5|GPIO_PIN_6|GPIO_PIN_7|GPIO_PIN_8
                          |GPIO_PIN_9;
  GPIO_InitStruct.Mode = GPIO_MODE_OUTPUT_PP;
  GPIO_InitStruct.Pull = GPIO_NOPULL;
  GPIO_InitStruct.Speed = GPIO_SPEED_FREQ_LOW;
  HAL_GPIO_Init(GPIOB, &GPIO_InitStruct);

  /*Configure GPIO pins : PA8 PA9 PA10 PA15 */
  GPIO_InitStruct.Pin = GPIO_PIN_8|GPIO_PIN_9|GPIO_PIN_10|GPIO_PIN_15;
  GPIO_InitStruct.Mode = GPIO_MODE_OUTPUT_PP;
  GPIO_InitStruct.Pull = GPIO_NOPULL;
  GPIO_InitStruct.Speed = GPIO_SPEED_FREQ_LOW;
  HAL_GPIO_Init(GPIOA, &GPIO_InitStruct);

  /*Configure GPIO pin : PD2 */
  GPIO_InitStruct.Pin = GPIO_PIN_2;
  GPIO_InitStruct.Mode = GPIO_MODE_OUTPUT_PP;
  GPIO_InitStruct.Pull = GPIO_NOPULL;
  GPIO_InitStruct.Speed = GPIO_SPEED_FREQ_LOW;
  HAL_GPIO_Init(GPIOD, &GPIO_InitStruct);

}

void Error_Handler(void)
{
  /* USER CODE BEGIN Error_Handler_Debug */
  /* User can add his own implementation to report the HAL error return state */
  __disable_irq();
  while (1)
  {
	  HAL_GPIO_TogglePin(GPIOB, GPIO_PIN_14);
	  HAL_Delay(1000);
  }
  /* USER CODE END Error_Handler_Debug */
}
